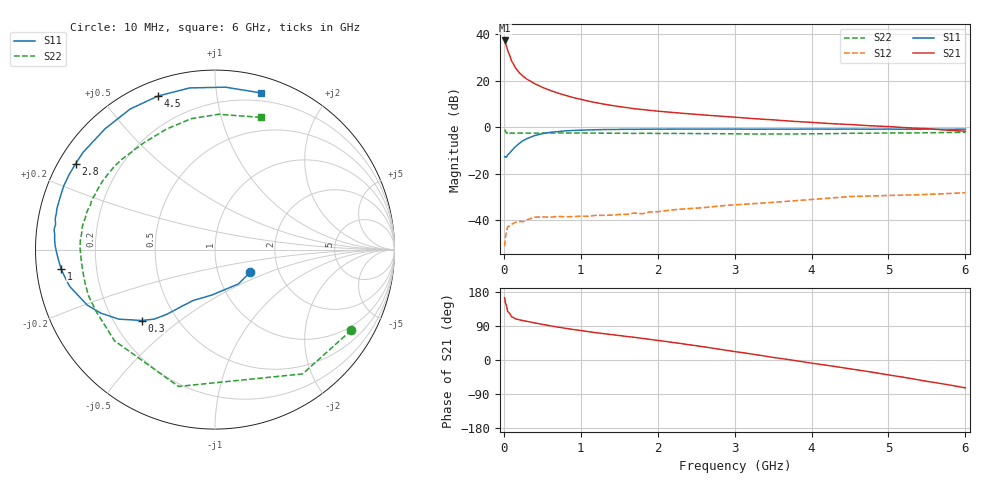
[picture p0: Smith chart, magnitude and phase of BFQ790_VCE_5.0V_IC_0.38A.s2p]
! (c) 2015  Infineon Technologies AG, Munich
! Infineon Technologies  Discrete & RF Semiconductors
! BFQ790
! VCE =  5.0 V,  IC = 0.38 A
! Common Emitter S-Parameters:  May 2015
# GHz  S  MA  R  50
!  f  S11  S21  S12  S22
! GHz  MAG  ANG  MAG  ANG  MAG  ANG  MAG  ANG
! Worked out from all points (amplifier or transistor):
!   77 points, 10 MHz to 6 GHz, reference 50 ohm
!   highest |S21| = 37.2 dB at 10 MHz (marker M1)
!   |S21| within 3 dB of that: start of sweep to 38.55 MHz
!   unconditionally stable (mu >= 1): 153.2 MHz to end of sweep
!   at 130 MHz: K = 0.92, MSG = 34.0 dB, |S12| = -41.2 dB
!   at 2.2 GHz: K = 1.38, MAG = 17.2 dB, |S12| = -35.4 dB
!   at 6 GHz: K = 1.11, MAG = 11.2 dB, |S12| = -28.1 dB
!   S11 on the Smith chart (normalised r, x): 10 MHz: 1.42, -0.38; 300 MHz: 0.32, -0.37; 1 GHz: 0.07, -0.06; 2.8 GHz: 0.05, +0.28; 4.5 GHz: 0.07, +0.69; 6 GHz: 0.13, +1.33
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0.01  0.2321 -33.2  72.77 164.3  0.0028 69.3  0.8821 -30.6
0.02  0.2317 -55.6  65.91 151.4  0.0043 60.7  0.8474 -54.8
0.05  0.2542 -94.3  44.41 127.9  0.0073 39.0  0.789 -104.9
0.1  0.3108 -113.7  26.42 114.1  0.0082 22.5  0.756 -137.8
0.15  0.3801 -121.6  18.83 108.8  0.0091 22.9  0.7465 -152.4
0.2  0.4496 -126.7  14.87 106.1  0.0095 23.3  0.7502 -160.0
0.25  0.5148 -131.2  12.43 103.9  0.0094 20.2  0.7477 -165.1
0.3  0.5689 -136.0  10.73 102.0  0.0103 16.9  0.7465 -168.9
0.4  0.6611 -144.1  8.594 97.8  0.0117 16.1  0.747 -174.3
0.5  0.7269 -150.8  7.183 94.0  0.0119 13.0  0.7493 -178.1
0.6  0.776 -156.5  6.193 90.5  0.0117 15.7  0.7525 178.8
0.8  0.8353 -165.8  4.838 83.7  0.012 11.5  0.7493 174.2
1  0.8645 -173.0  3.971 77.8  0.0123 14.3  0.7506 170.6
1.1  0.8744 -176.4  3.635 74.8  0.0123 12.9  0.7487 168.8
1.5  0.8972 174.7  2.771 64.6  0.0134 17.2  0.7429 163.0
2.1  0.9097 163.3  2.139 49.1  0.0161 17.6  0.735 154.2
2.8  0.9123 148.3  1.736 28.5  0.0204 11.9  0.7276 140.1
3.1  0.9098 141.4  1.596 19.5  0.0221 8.7  0.7186 133.5
4.1  0.9119 119.0  1.239 -11.1  0.0289 -5.9  0.7247 109.7
4.5  0.9128 110.4  1.143 -23.3  0.0326 -13.5  0.7414 100.3
5.1  0.9072 96.4  1.008 -42.5  0.0345 -26.0  0.7533 86.4
6  0.9098 73.6  0.823 -73.6  0.0393 -47.5  0.7803 70.8
